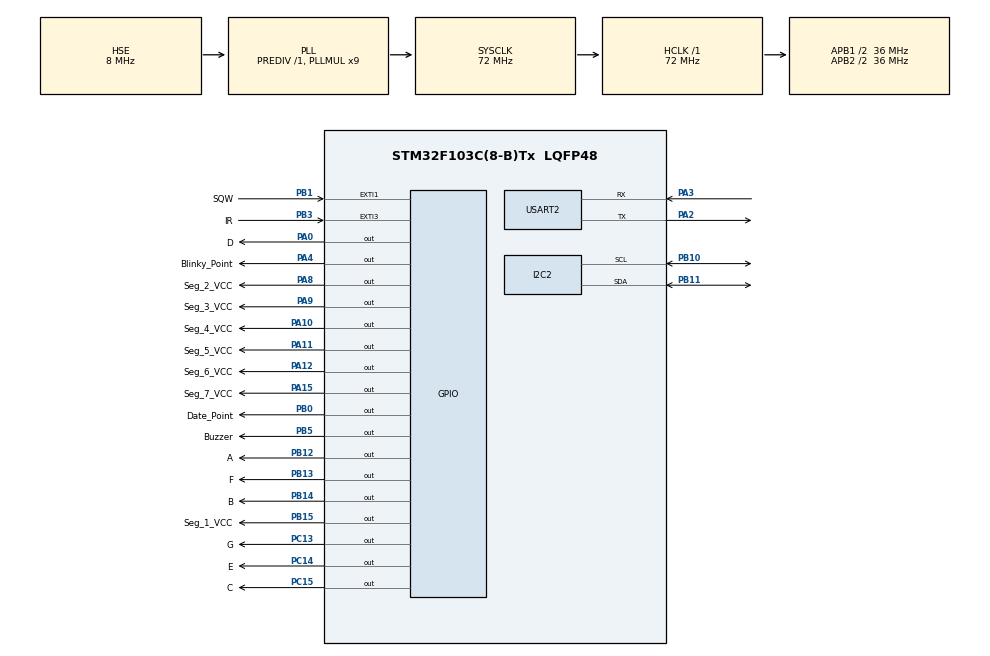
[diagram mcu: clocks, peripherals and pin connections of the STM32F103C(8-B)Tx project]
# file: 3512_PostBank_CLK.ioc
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Mcu.Family=STM32F1
Mcu.Name=STM32F103C(8-B)Tx
Mcu.Package=LQFP48
NVIC.EXTI1_IRQn=true\:0\:0\:false\:false\:true\:true\:true\:true
NVIC.EXTI3_IRQn=true\:0\:0\:false\:false\:true\:true\:true\:true
NVIC.PriorityGroup=NVIC_PRIORITYGROUP_4
NVIC.TIM2_IRQn=true\:0\:0\:false\:false\:true\:true\:true\:true
NVIC.TIM3_IRQn=true\:0\:0\:false\:false\:true\:true\:true\:true
PA0-WKUP.GPIO_Label=D
PA0-WKUP.Signal=GPIO_Output
PA10.GPIO_Label=Seg_4_VCC
PA10.Signal=GPIO_Output
PA11.GPIO_Label=Seg_5_VCC
PA11.Signal=GPIO_Output
PA12.GPIO_Label=Seg_6_VCC
PA12.Signal=GPIO_Output
PA13.Mode=Serial_Wire
PA13.Signal=SYS_JTMS-SWDIO
PA14.Mode=Serial_Wire
PA14.Signal=SYS_JTCK-SWCLK
PA15.GPIO_Label=Seg_7_VCC
PA15.Signal=GPIO_Output
PA2.Mode=Asynchronous
PA2.Signal=USART2_TX
PA3.Mode=Asynchronous
PA3.Signal=USART2_RX
PA4.GPIO_Label=Blinky_Point
PA4.Signal=GPIO_Output
PA8.GPIO_Label=Seg_2_VCC
PA8.Signal=GPIO_Output
PA9.GPIO_Label=Seg_3_VCC
PA9.Signal=GPIO_Output
PB0.GPIO_Label=Date_Point
PB0.Signal=GPIO_Output
PB1.GPIO_Label=SQW
PB1.Signal=GPXTI1
PB10.Mode=I2C
PB10.Signal=I2C2_SCL
PB11.Mode=I2C
PB11.Signal=I2C2_SDA
PB12.GPIO_Label=A
PB12.Signal=GPIO_Output
PB13.GPIO_Label=F
PB13.Signal=GPIO_Output
PB14.GPIO_Label=B
PB14.Signal=GPIO_Output
PB15.GPIO_Label=Seg_1_VCC
PB15.Signal=GPIO_Output
PB3.GPIO_Label=IR
PB3.GPIO_ModeDefaultEXTI=GPIO_MODE_IT_FALLING
PB3.Signal=GPXTI3
PB5.GPIO_Label=Buzzer
PB5.Signal=GPIO_Output
PC13-TAMPER-RTC.GPIO_Label=G
PC13-TAMPER-RTC.Signal=GPIO_Output
PC14-OSC32_IN.GPIO_Label=E
PC14-OSC32_IN.Signal=GPIO_Output
PC15-OSC32_OUT.GPIO_Label=C
PC15-OSC32_OUT.Signal=GPIO_Output
PD0-OSC_IN.Mode=HSE-External-Oscillator
PD0-OSC_IN.Signal=RCC_OSC_IN
PD1-OSC_OUT.Mode=HSE-External-Oscillator
PD1-OSC_OUT.Signal=RCC_OSC_OUT
ProjectManager.HeapSize=0x200
ProjectManager.StackSize=0x400
ProjectManager.TargetToolchain=STM32CubeIDE
RCC.AHBFreq_Value=72000000
RCC.APB1CLKDivider=RCC_HCLK_DIV2
RCC.APB1Freq_Value=36000000
RCC.APB1TimFreq_Value=72000000
RCC.APB2CLKDivider=RCC_HCLK_DIV2
RCC.APB2Freq_Value=36000000
RCC.APB2TimFreq_Value=72000000
RCC.HCLKFreq_Value=72000000
RCC.PLLMUL=RCC_PLL_MUL9
RCC.PLLSourceVirtual=RCC_PLLSOURCE_HSE
RCC.SYSCLKFreq_VALUE=72000000
RCC.SYSCLKSource=RCC_SYSCLKSOURCE_PLLCLK
RCC.USBFreq_Value=72000000
TIM2.Period=500-1
TIM2.Prescaler=72-1
TIM3.Period=50000-1
TIM3.Prescaler=72-1
USART2.VirtualMode=VM_ASYNC
VP_TIM2_VS_ClockSourceINT.Mode=Internal
VP_TIM3_VS_ClockSourceINT.Mode=Internal
board=custom

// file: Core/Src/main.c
/* USER CODE BEGIN Header */
/**
  ******************************************************************************
  * @file           : main.c
  * @brief          : Main program body
  ******************************************************************************
  * @attention
  *
  * Copyright (c) 2025 STMicroelectronics.
  * All rights reserved.
  *
  * This software is licensed under terms that can be found in the LICENSE file
  * in the root directory of this software component.
  * If no LICENSE file comes with this software, it is provided AS-IS.
  *
  ******************************************************************************
  */
/* USER CODE END Header */
#include "main.h"
#include "i2c.h"
#include "tim.h"
#include "usart.h"
#include "gpio.h"

/* USER CODE BEGIN Includes */

#include "IRRemote.h"
#include "SegmentsDriver.h"
#include "DS3231.h"
#include "GeneralRemoote.h"
#include "Variable.h"
#include "Initialization.h"
#include <stdio.h>

/* USER CODE END Includes */

void SystemClock_Config(void);

int main(void)
{

  /* USER CODE BEGIN 1 */
	int counter = 0;

  /* USER CODE END 1 */

  /* MCU Configuration--------------------------------------------------------*/

  /* Reset of all peripherals, Initializes the Flash interface and the Systick. */
  HAL_Init();

  /* Configure the system clock */
  SystemClock_Config();

  /* Initialize all configured peripherals */
  MX_GPIO_Init();
  MX_I2C2_Init();
  MX_TIM2_Init();
  MX_TIM3_Init();
  MX_USART2_UART_Init();
  /* USER CODE BEGIN 2 */
  HAL_TIM_Base_Start_IT(&htim2);
  HAL_TIM_Base_Start_IT(&htim3);
  DS3231_EnableSQW1Hz(&hi2c2);
  DS3231_ReadTime(&hi2c2,&time_Hour,&time_Minute,&time_Second);
  DS3231_ReadCalendar(&hi2c2,&gdate_Year,&gdate_Mounth,&gdate_Day,&gdate_Date);
  gregorian_to_jalali(gdate_Year+2000,gdate_Mounth,gdate_Day,jalali_Calender);
  if(jalali_Calender[0] > 1400)     pdate_Year = jalali_Calender[0] - 1400;
  pdate_Mounth = jalali_Calender[1];
  pdate_Day = jalali_Calender[2];
  sprintf(numarray, "%02d%02d%02d\r\n", pdate_Year,pdate_Mounth,pdate_Day);
  HAL_UART_Transmit(&huart2, numarray, 8 , HAL_MAX_DELAY);
  for (int i = 0; i < 10; i++)
  {
    Segment_Set(0,i);
    Segment_Set(1,i);
    Segment_Set(2,i);
    Segment_Set(3,i);
    Segment_Set(4,i);
    Segment_Set(5,i);
    HAL_Delay(200);
    HAL_GPIO_WritePin(blinky_Point,HIGH);
    HAL_GPIO_WritePin(date_Point,HIGH);
  }
  HAL_GPIO_WritePin(blinky_Point,LOW);
  HAL_GPIO_WritePin(date_Point,LOW);
  Segment_Set(0,'U');Segment_Set(1,'L');Segment_Set(2,0);Segment_Set(3,2);Segment_Set(4,'N');Segment_Set(5,'N');
  HAL_Delay(1000);
  /* USER CODE END 2 */

  /* Infinite loop */
  while (1)
  {
    /* USER CODE BEGIN 3 */

    if(work_Mode == MODE_NORMAL)
    {
      HAL_GPIO_WritePin(blinky_Point,HIGH);
      Segment_Set(0,time_Hour/10);
      Segment_Set(1,time_Hour%10);
      Segment_Set(2,time_Minute/10);
      Segment_Set(3,time_Minute%10);
      Segment_Set(4,time_Second/10);
      Segment_Set(5,time_Second%10);
      Segment_Set(6,date_Week);

      if((send_Flag == 1))
      {

        send_Flag = 0;
        DS3231_ReadCalendar(&hi2c2,&gdate_Year,&gdate_Mounth,&gdate_Day,&gdate_Date);
        gregorian_to_jalali(gdate_Year+2000,gdate_Mounth,gdate_Day,jalali_Calender);
        pdate_Year = jalali_Calender[0] - 1400;
        pdate_Mounth = jalali_Calender[1];
        pdate_Day = jalali_Calender[2];

        if(pdate_Year > 99)   pdate_Year = 0;
        sprintf(numarray, "%02d%02d%02d\r\n", pdate_Year,pdate_Mounth,pdate_Day);
        HAL_UART_Transmit(&huart2, numarray, 8 , HAL_MAX_DELAY);
        DS3231_ReadTime(&hi2c2,&time_Hour,&time_Minute,&time_Second);

      }

      irRemote = Ir_GetData();
      if(irRemote != 0)
      {
        Haamin_Remote(irRemote, work_Mode);
      }

    }
    else if(work_Mode == TIME_SETTING)
    {
      if(time_Mode == SET_HOUR)
      {

        Segment_Set(2,time_Minute_t/10);
        Segment_Set(3,time_Minute_t%10);

        if(time_Second%2 == 0)
        {
          Segment_Set(0,timeValue/10);
          Segment_Set(1,timeValue%10);
        }
        else
        {
          Segment_Set(0,'N');
          Segment_Set(1,'N');
        }

      }
      else if(time_Mode == SET_MIN)
      {
        Segment_Set(0,time_Hour_t/10);
        Segment_Set(1,time_Hour_t%10);

        if(time_Second%2 == 0)
        {
          Segment_Set(2,timeValue/10);
          Segment_Set(3,timeValue%10);
        }
        else
        {
          Segment_Set(2,'N');
          Segment_Set(3,'N');
        }

      }

      irRemote = Ir_GetData();
      if(irRemote != 0)
      {
        Haamin_Remote(irRemote, work_Mode);
      }
    }
    else if(work_Mode == DATE_SETTING)
    {
      HAL_GPIO_WritePin(blinky_Point,LOW);
      HAL_GPIO_WritePin(date_Point,HIGH);
      if(date_Mode == SET_YEAR)
      {
        Segment_Set(2,dateMounth_t/10);
        Segment_Set(3,dateMounth_t%10);
        Segment_Set(4,dateDay_t/10);
        Segment_Set(5,dateDay_t%10);
        if(time_Second%2 == 0)
        {
          Segment_Set(0,dateValue/10);
          Segment_Set(1,dateValue%10);
        }
        else
        {
          Segment_Set(0,'N');
          Segment_Set(1,'N');
        }
      }
      else if(date_Mode == SET_MOTH)
      {
        Segment_Set(0,dateYear_t/10);
        Segment_Set(1,dateYear_t%10);

        Segment_Set(4,dateDay_t/10);
        Segment_Set(5,dateDay_t%10);
        if(time_Second%2 == 0)
        {
          Segment_Set(2,dateValue/10);
          Segment_Set(3,dateValue%10);
        }
        else
        {
          Segment_Set(2,'N');
          Segment_Set(3,'N');
        }
      }
      else if(date_Mode == SET_DAY)
      {
        Segment_Set(0,dateYear_t/10);
        Segment_Set(1,dateYear_t%10);
        Segment_Set(2,dateMounth_t/10);
        Segment_Set(3,dateMounth_t%10);
        if(time_Second%2 == 0)
        {
          Segment_Set(4,dateValue/10);
          Segment_Set(5,dateValue%10);
        }
        else
        {
          Segment_Set(4,'N');
          Segment_Set(5,'N');
        }
      }
      else if(date_Mode == SET_DOW)
      {

        if(time_Second%2 == 0)
        {
          Segment_Set(6,dateValue);
        }
        else
        {
          Segment_Set(6,'N');
        }
      }

      irRemote = Ir_GetData();
      if(irRemote != 0)
      {
        Haamin_Remote(irRemote, work_Mode);
      }
    }

  }
  /* USER CODE END 3 */
}

void SystemClock_Config(void)
{
  RCC_OscInitTypeDef RCC_OscInitStruct = {0};
  RCC_ClkInitTypeDef RCC_ClkInitStruct = {0};

  /** Initializes the RCC Oscillators according to the specified parameters
  * in the RCC_OscInitTypeDef structure.
  */
  RCC_OscInitStruct.OscillatorType = RCC_OSCILLATORTYPE_HSE;
  RCC_OscInitStruct.HSEState = RCC_HSE_ON;
  RCC_OscInitStruct.HSEPredivValue = RCC_HSE_PREDIV_DIV1;
  RCC_OscInitStruct.HSIState = RCC_HSI_ON;
  RCC_OscInitStruct.PLL.PLLState = RCC_PLL_ON;
  RCC_OscInitStruct.PLL.PLLSource = RCC_PLLSOURCE_HSE;
  RCC_OscInitStruct.PLL.PLLMUL = RCC_PLL_MUL9;
  if (HAL_RCC_OscConfig(&RCC_OscInitStruct) != HAL_OK)
  {
    Error_Handler();
  }

  /** Initializes the CPU, AHB and APB buses clocks
  */
  RCC_ClkInitStruct.ClockType = RCC_CLOCKTYPE_HCLK|RCC_CLOCKTYPE_SYSCLK
                              |RCC_CLOCKTYPE_PCLK1|RCC_CLOCKTYPE_PCLK2;
  RCC_ClkInitStruct.SYSCLKSource = RCC_SYSCLKSOURCE_PLLCLK;
  RCC_ClkInitStruct.AHBCLKDivider = RCC_SYSCLK_DIV1;
  RCC_ClkInitStruct.APB1CLKDivider = RCC_HCLK_DIV2;
  RCC_ClkInitStruct.APB2CLKDivider = RCC_HCLK_DIV2;

  if (HAL_RCC_ClockConfig(&RCC_ClkInitStruct, FLASH_LATENCY_2) != HAL_OK)
  {
    Error_Handler();
  }
}

/* USER CODE BEGIN 4 */
void Time_Update(void)
{
  if(time_Second == 2)
  {
    send_Flag = 1;
  }
  if(++time_Second > 59)
  {
    time_Second = 0;
    if(++time_Minute > 59)
    {
      time_Minute = 0;
      if(++time_Hour > 23)
        time_Hour = 0;

    }
  }
  if(++time_TmpShow > 30)
  {
    time_TmpShow = 0;
  }
}

/* USER CODE END 4 */

void Error_Handler(void)
{
  __disable_irq();
  while (1)
  {
  }
}
